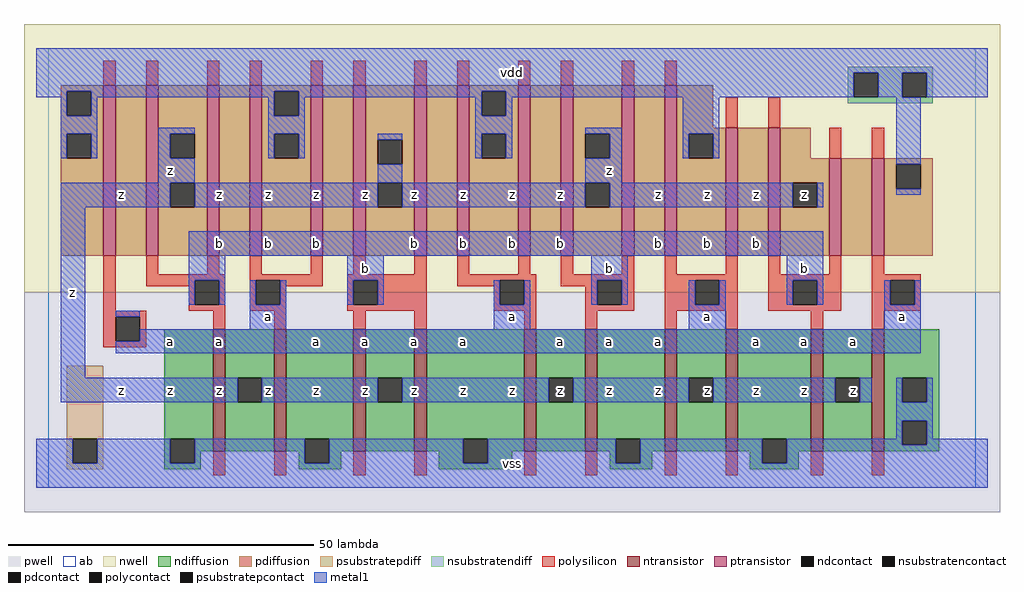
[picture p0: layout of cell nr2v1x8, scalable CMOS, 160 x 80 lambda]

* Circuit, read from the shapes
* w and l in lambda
.subckt nr2v1x8 a b vdd vss z
M1 z b vss vss nfet w=20 l=2 m=5
M2 vss a z vss nfet w=20 l=2 m=5
M3 n1 a vdd vdd pfet w=28 l=2
M4 z b n1 vdd pfet w=28 l=2
M5 n2 b z vdd pfet w=28 l=2
M6 vdd a n2 vdd pfet w=28 l=2
M7 n3 a vdd vdd pfet w=28 l=2
M8 z b n3 vdd pfet w=28 l=2
M9 n4 b z vdd pfet w=28 l=2
M10 vdd a n4 vdd pfet w=28 l=2
M11 n5 a vdd vdd pfet w=28 l=2
M12 z b n5 vdd pfet w=28 l=2
M13 n6 b z vdd pfet w=28 l=2
M14 vdd a n6 vdd pfet w=28 l=2
M15 n7 a vdd vdd pfet w=21 l=2
M16 z b n7 vdd pfet w=21 l=2
M17 n8 b z vdd pfet w=16 l=2
M18 vdd a n8 vdd pfet w=16 l=2
.ends

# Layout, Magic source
magic
tech scmos
<< ab >>
rect 0 0 152 72
<< pwell >>
rect -4 -4 156 32
<< nwell >>
rect -4 32 156 76
<< polysilicon >>
rect 9 66 11 70
rect 16 66 18 70
rect 26 66 28 70
rect 33 66 35 70
rect 43 66 45 70
rect 50 66 52 70
rect 60 66 62 70
rect 67 66 69 70
rect 77 66 79 70
rect 84 66 86 70
rect 94 66 96 70
rect 101 66 103 70
rect 111 59 113 64
rect 118 59 120 64
rect 128 54 130 59
rect 135 54 137 59
rect 9 29 11 38
rect 16 35 18 38
rect 26 35 28 38
rect 33 35 35 38
rect 43 35 45 38
rect 50 35 52 38
rect 60 35 62 38
rect 16 34 29 35
rect 16 33 24 34
rect 23 30 24 33
rect 28 30 29 34
rect 23 29 29 30
rect 33 34 45 35
rect 33 30 34 34
rect 38 33 45 34
rect 49 34 62 35
rect 38 30 39 33
rect 33 29 39 30
rect 49 30 50 34
rect 54 30 62 34
rect 67 35 69 38
rect 77 35 79 38
rect 84 35 86 38
rect 94 35 96 38
rect 67 34 80 35
rect 67 33 74 34
rect 49 29 62 30
rect 73 30 74 33
rect 78 30 80 34
rect 84 34 96 35
rect 84 33 90 34
rect 73 29 80 30
rect 9 28 16 29
rect 9 24 11 28
rect 15 24 16 28
rect 27 26 29 29
rect 37 26 39 29
rect 50 26 52 29
rect 60 26 62 29
rect 78 26 80 29
rect 88 30 90 33
rect 94 30 96 34
rect 88 29 96 30
rect 101 35 103 38
rect 111 35 113 38
rect 101 34 113 35
rect 101 30 106 34
rect 110 30 113 34
rect 101 29 113 30
rect 118 35 120 38
rect 128 35 130 38
rect 118 34 130 35
rect 118 30 122 34
rect 126 30 130 34
rect 118 29 130 30
rect 135 35 137 38
rect 135 34 143 35
rect 135 30 138 34
rect 142 30 143 34
rect 135 29 143 30
rect 88 26 90 29
rect 101 26 103 29
rect 111 26 113 29
rect 125 26 127 29
rect 135 26 137 29
rect 9 23 16 24
rect 27 2 29 6
rect 37 2 39 6
rect 50 2 52 6
rect 60 2 62 6
rect 78 2 80 6
rect 88 2 90 6
rect 101 2 103 6
rect 111 2 113 6
rect 125 2 127 6
rect 135 2 137 6
<< ndiffusion >>
rect 19 8 27 26
rect 19 4 20 8
rect 24 6 27 8
rect 29 18 37 26
rect 29 14 31 18
rect 35 14 37 18
rect 29 6 37 14
rect 39 8 50 26
rect 39 6 42 8
rect 24 4 25 6
rect 19 3 25 4
rect 41 4 42 6
rect 46 6 50 8
rect 52 18 60 26
rect 52 14 54 18
rect 58 14 60 18
rect 52 6 60 14
rect 62 8 78 26
rect 62 6 68 8
rect 46 4 48 6
rect 41 3 48 4
rect 64 4 68 6
rect 72 6 78 8
rect 80 18 88 26
rect 80 14 82 18
rect 86 14 88 18
rect 80 6 88 14
rect 90 8 101 26
rect 90 6 93 8
rect 72 4 76 6
rect 64 3 76 4
rect 92 4 93 6
rect 97 6 101 8
rect 103 18 111 26
rect 103 14 105 18
rect 109 14 111 18
rect 103 6 111 14
rect 113 8 125 26
rect 113 6 117 8
rect 97 4 99 6
rect 92 3 99 4
rect 115 4 117 6
rect 121 6 125 8
rect 127 18 135 26
rect 127 14 129 18
rect 133 14 135 18
rect 127 6 135 14
rect 137 18 146 26
rect 137 14 140 18
rect 144 14 146 18
rect 137 11 146 14
rect 137 7 140 11
rect 144 7 146 11
rect 137 6 146 7
rect 121 4 123 6
rect 115 3 123 4
<< pdiffusion >>
rect 2 65 9 66
rect 2 61 3 65
rect 7 61 9 65
rect 2 58 9 61
rect 2 54 3 58
rect 7 54 9 58
rect 2 38 9 54
rect 11 38 16 66
rect 18 58 26 66
rect 18 54 20 58
rect 24 54 26 58
rect 18 50 26 54
rect 18 46 20 50
rect 24 46 26 50
rect 18 38 26 46
rect 28 38 33 66
rect 35 65 43 66
rect 35 61 37 65
rect 41 61 43 65
rect 35 58 43 61
rect 35 54 37 58
rect 41 54 43 58
rect 35 38 43 54
rect 45 38 50 66
rect 52 57 60 66
rect 52 53 54 57
rect 58 53 60 57
rect 52 50 60 53
rect 52 46 54 50
rect 58 46 60 50
rect 52 38 60 46
rect 62 38 67 66
rect 69 65 77 66
rect 69 61 71 65
rect 75 61 77 65
rect 69 58 77 61
rect 69 54 71 58
rect 75 54 77 58
rect 69 38 77 54
rect 79 38 84 66
rect 86 58 94 66
rect 86 54 88 58
rect 92 54 94 58
rect 86 50 94 54
rect 86 46 88 50
rect 92 46 94 50
rect 86 38 94 46
rect 96 38 101 66
rect 103 59 109 66
rect 103 58 111 59
rect 103 54 105 58
rect 109 54 111 58
rect 103 38 111 54
rect 113 38 118 59
rect 120 54 125 59
rect 120 50 128 54
rect 120 46 122 50
rect 126 46 128 50
rect 120 38 128 46
rect 130 38 135 54
rect 137 53 145 54
rect 137 49 139 53
rect 143 49 145 53
rect 137 38 145 49
<< metal1 >>
rect -2 68 154 72
rect -2 65 132 68
rect -2 64 3 65
rect 2 61 3 64
rect 7 64 37 65
rect 7 61 8 64
rect 2 58 8 61
rect 36 61 37 64
rect 41 64 71 65
rect 41 61 42 64
rect 2 54 3 58
rect 7 54 8 58
rect 18 58 24 59
rect 18 54 20 58
rect 36 58 42 61
rect 70 61 71 64
rect 75 64 132 65
rect 136 64 140 68
rect 144 64 154 68
rect 75 61 76 64
rect 70 58 76 61
rect 36 54 37 58
rect 41 54 42 58
rect 54 57 58 58
rect 18 50 24 54
rect 70 54 71 58
rect 75 54 76 58
rect 88 58 94 59
rect 92 54 94 58
rect 104 58 110 64
rect 104 54 105 58
rect 109 54 110 58
rect 54 50 58 53
rect 88 50 94 54
rect 139 53 143 64
rect 2 46 20 50
rect 24 46 54 50
rect 58 46 88 50
rect 92 46 122 50
rect 126 46 127 50
rect 139 48 143 49
rect 2 18 6 46
rect 23 38 127 42
rect 23 34 29 38
rect 49 34 55 38
rect 89 34 95 38
rect 121 34 127 38
rect 23 30 24 34
rect 28 30 29 34
rect 33 30 34 34
rect 38 30 39 34
rect 49 30 50 34
rect 54 30 55 34
rect 73 30 74 34
rect 78 30 79 34
rect 89 30 90 34
rect 94 30 95 34
rect 105 30 106 34
rect 110 30 111 34
rect 121 30 122 34
rect 126 30 127 34
rect 137 30 138 34
rect 142 30 143 34
rect 11 28 15 29
rect 33 26 39 30
rect 73 26 79 30
rect 105 26 111 30
rect 137 26 143 30
rect 15 24 143 26
rect 11 22 143 24
rect 2 14 31 18
rect 35 14 54 18
rect 58 14 82 18
rect 86 14 105 18
rect 109 14 129 18
rect 133 14 135 18
rect 139 14 140 18
rect 144 14 145 18
rect 139 11 145 14
rect 139 8 140 11
rect -2 4 4 8
rect 8 4 20 8
rect 24 4 42 8
rect 46 4 68 8
rect 72 4 93 8
rect 97 4 117 8
rect 121 7 140 8
rect 144 8 145 11
rect 144 7 154 8
rect 121 4 154 7
rect -2 0 154 4
<< ntransistor >>
rect 27 6 29 26
rect 37 6 39 26
rect 50 6 52 26
rect 60 6 62 26
rect 78 6 80 26
rect 88 6 90 26
rect 101 6 103 26
rect 111 6 113 26
rect 125 6 127 26
rect 135 6 137 26
<< ptransistor >>
rect 9 38 11 66
rect 16 38 18 66
rect 26 38 28 66
rect 33 38 35 66
rect 43 38 45 66
rect 50 38 52 66
rect 60 38 62 66
rect 67 38 69 66
rect 77 38 79 66
rect 84 38 86 66
rect 94 38 96 66
rect 101 38 103 66
rect 111 38 113 59
rect 118 38 120 59
rect 128 38 130 54
rect 135 38 137 54
<< polycontact >>
rect 24 30 28 34
rect 34 30 38 34
rect 50 30 54 34
rect 74 30 78 34
rect 11 24 15 28
rect 90 30 94 34
rect 106 30 110 34
rect 122 30 126 34
rect 138 30 142 34
<< ndcontact >>
rect 20 4 24 8
rect 31 14 35 18
rect 42 4 46 8
rect 54 14 58 18
rect 68 4 72 8
rect 82 14 86 18
rect 93 4 97 8
rect 105 14 109 18
rect 117 4 121 8
rect 129 14 133 18
rect 140 14 144 18
rect 140 7 144 11
<< pdcontact >>
rect 3 61 7 65
rect 3 54 7 58
rect 20 54 24 58
rect 20 46 24 50
rect 37 61 41 65
rect 37 54 41 58
rect 54 53 58 57
rect 54 46 58 50
rect 71 61 75 65
rect 71 54 75 58
rect 88 54 92 58
rect 88 46 92 50
rect 105 54 109 58
rect 122 46 126 50
rect 139 49 143 53
<< psubstratepcontact >>
rect 4 4 8 8
<< nsubstratencontact >>
rect 132 64 136 68
rect 140 64 144 68
<< psubstratepdiff >>
rect 3 8 9 20
rect 3 4 4 8
rect 8 4 9 8
rect 3 3 9 4
<< nsubstratendiff >>
rect 131 68 145 69
rect 131 64 132 68
rect 136 64 140 68
rect 144 64 145 68
rect 131 63 145 64
<< labels >>
rlabel metal1 20 16 20 16 6 z
rlabel metal1 12 16 12 16 6 z
rlabel metal1 20 24 20 24 6 a
rlabel metal1 4 32 4 32 6 z
rlabel metal1 20 52 20 52 6 z
rlabel metal1 12 48 12 48 6 z
rlabel metal1 44 16 44 16 6 z
rlabel metal1 36 16 36 16 6 z
rlabel metal1 28 16 28 16 6 z
rlabel metal1 44 24 44 24 6 a
rlabel metal1 36 28 36 28 6 a
rlabel metal1 28 24 28 24 6 a
rlabel metal1 44 40 44 40 6 b
rlabel metal1 36 40 36 40 6 b
rlabel metal1 28 40 28 40 6 b
rlabel metal1 44 48 44 48 6 z
rlabel metal1 36 48 36 48 6 z
rlabel metal1 28 48 28 48 6 z
rlabel metal1 52 16 52 16 6 z
rlabel metal1 68 16 68 16 6 z
rlabel metal1 60 16 60 16 6 z
rlabel metal1 68 24 68 24 6 a
rlabel metal1 60 24 60 24 6 a
rlabel metal1 52 24 52 24 6 a
rlabel metal1 68 40 68 40 6 b
rlabel metal1 60 40 60 40 6 b
rlabel metal1 52 36 52 36 6 b
rlabel metal1 68 48 68 48 6 z
rlabel metal1 60 48 60 48 6 z
rlabel metal1 52 48 52 48 6 z
rlabel metal1 76 4 76 4 6 vss
rlabel metal1 76 16 76 16 6 z
rlabel metal1 92 16 92 16 6 z
rlabel ndcontact 84 16 84 16 6 z
rlabel metal1 100 16 100 16 6 z
rlabel metal1 92 24 92 24 6 a
rlabel metal1 84 24 84 24 6 a
rlabel metal1 100 24 100 24 6 a
rlabel metal1 76 28 76 28 6 a
rlabel metal1 92 36 92 36 6 b
rlabel metal1 84 40 84 40 6 b
rlabel metal1 100 40 100 40 6 b
rlabel metal1 76 40 76 40 6 b
rlabel metal1 92 52 92 52 6 z
rlabel metal1 84 48 84 48 6 z
rlabel metal1 100 48 100 48 6 z
rlabel metal1 76 48 76 48 6 z
rlabel metal1 76 68 76 68 6 vdd
rlabel metal1 124 16 124 16 6 z
rlabel metal1 116 16 116 16 6 z
rlabel ndcontact 108 16 108 16 6 z
rlabel metal1 124 24 124 24 6 a
rlabel metal1 116 24 116 24 6 a
rlabel metal1 108 28 108 28 6 a
rlabel metal1 124 36 124 36 6 b
rlabel metal1 116 40 116 40 6 b
rlabel metal1 108 40 108 40 6 b
rlabel pdcontact 124 48 124 48 6 z
rlabel metal1 116 48 116 48 6 z
rlabel metal1 108 48 108 48 6 z
rlabel ndcontact 132 16 132 16 6 z
rlabel metal1 140 28 140 28 6 a
rlabel metal1 132 24 132 24 6 a
<< end >>
